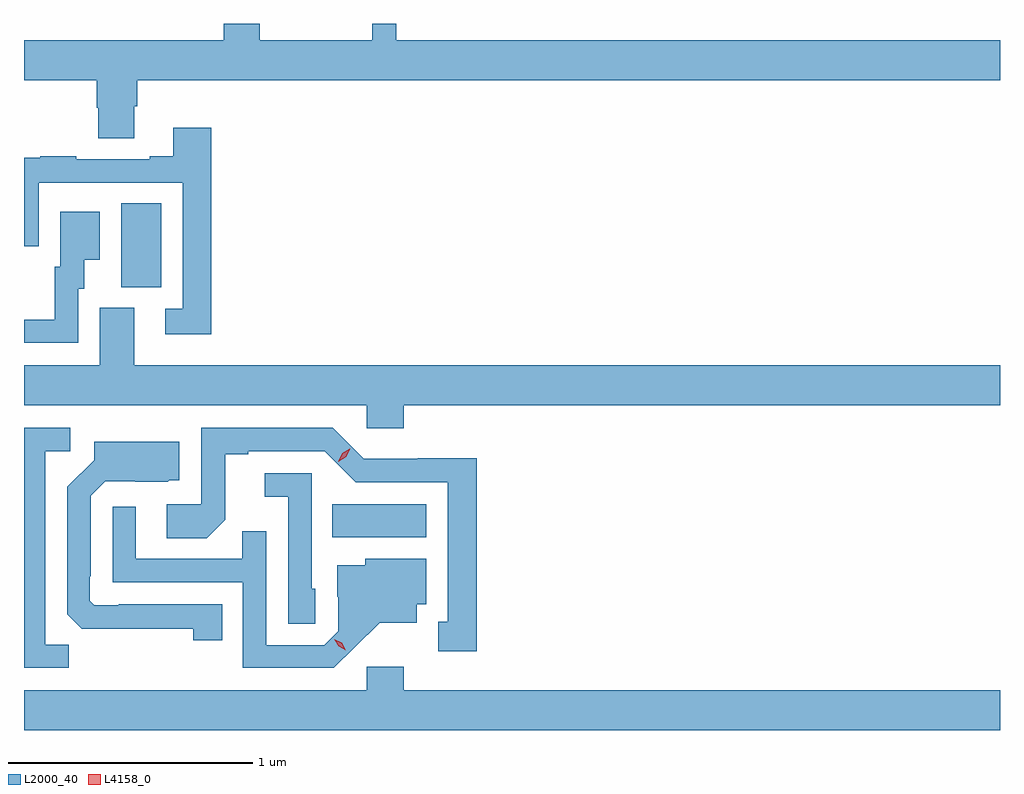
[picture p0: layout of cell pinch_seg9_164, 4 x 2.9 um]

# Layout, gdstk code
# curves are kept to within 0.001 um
import gdstk
lib = gdstk.Library(unit=1e-6, precision=1e-09)
def R(c, l, rs):  # rectangles x0, y0, x1, y1
    for r in rs: c.add(gdstk.rectangle(r[:2], r[2:], *l))
def P(c, l, *ps):  # polygons
    for p in ps: c.add(gdstk.Polygon(p, *l))
L2000_40 = (2000, 40)
L4158_0 = (4158, 0)

pinch_seg9_164 = lib.new_cell('pinch_seg9_164')
R(pinch_seg9_164, L2000_40, [(648.19,1175.9,648.574,1176.034), (647.324,1176.925,647.488,1177.268)])
P(pinch_seg9_164, L2000_40, [(647.377,1177.666),(647.39,1177.666),(647.39,1177.772),(650.926,1177.772),(650.926,1177.936),(648.452,1177.936),(648.452,1178.005),(648.353,1178.005),(648.353,1177.936),(647.892,1177.936),(647.892,1178.005),(647.744,1178.005),(647.744,1177.936),(646.926,1177.936),(646.926,1177.772),(647.225,1177.772),(647.225,1177.659),(647.23,1177.659),(647.23,1177.534),(647.377,1177.534)],
  [(647.693,1177.579),(647.537,1177.579),(647.537,1177.462),(647.441,1177.462),(647.441,1177.449),(647.141,1177.449),(647.141,1177.462),(646.993,1177.462),(646.993,1177.455),(646.926,1177.455),(646.926,1177.092),(646.986,1177.092),(646.986,1177.353),(647.577,1177.353),(647.577,1176.837),(647.505,1176.837),(647.505,1176.732),(647.693,1176.732)],
  [(647.148,1176.918),(647.173,1176.918),(647.173,1177.037),(647.236,1177.037),(647.236,1177.234),(647.075,1177.234),(647.075,1177.008),(647.051,1177.008),(647.051,1176.792),(646.926,1176.792),(646.926,1176.696),(647.148,1176.696)],
  [(648.482,1176.44),(650.926,1176.44),(650.926,1176.604),(647.377,1176.604),(647.377,1176.84),(647.237,1176.84),(647.237,1176.604),(646.926,1176.604),(646.926,1176.44),(648.33,1176.44),(648.33,1176.347),(648.482,1176.347)],
  [(647.109,1175.459),(647.013,1175.459),(647.013,1176.252),(647.116,1176.252),(647.116,1176.348),(646.926,1176.348),(646.926,1175.364),(647.109,1175.364)],
  [(648.781,1176.224),(648.54,1176.224),(648.54,1176.222),(648.318,1176.222),(648.192,1176.348),(647.652,1176.348),(647.652,1176.036),(647.511,1176.036),(647.511,1175.896),(647.675,1175.896),(647.751,1175.972),(647.751,1176.24),(647.845,1176.24),(647.845,1176.252),(648.159,1176.252),(648.285,1176.126),(648.662,1176.126),(648.662,1175.553),(648.623,1175.553),(648.623,1175.433),(648.781,1175.433)],
  [(647.738,1175.625),(647.314,1175.625),(647.314,1175.622),(647.214,1175.622),(647.196,1175.64),(647.196,1175.74),(647.199,1175.74),(647.199,1176.069),(647.259,1176.129),(647.516,1176.128),(647.522,1176.134),(647.563,1176.134),(647.563,1176.292),(647.213,1176.292),(647.213,1176.216),(647.103,1176.106),(647.103,1175.584),(647.162,1175.525),(647.62,1175.524),(647.62,1175.478),(647.738,1175.478)],
  [(648.12,1175.688),(648.105,1175.688),(648.105,1176.162),(647.913,1176.162),(647.913,1176.065),(648.009,1176.065),(648.009,1175.545),(648.12,1175.545)],
  [(648.28,1175.447),(648.383,1175.549),(648.535,1175.549),(648.535,1175.625),(648.574,1175.625),(648.574,1175.812),(648.324,1175.812),(648.324,1175.785),(648.209,1175.785),(648.209,1175.656),(648.213,1175.656),(648.213,1175.514),(648.156,1175.457),(647.919,1175.457),(647.919,1175.924),(647.821,1175.924),(647.821,1175.811),(647.385,1175.811),(647.385,1176.025),(647.289,1176.025),(647.289,1175.715),(647.823,1175.715),(647.823,1175.364),(648.196,1175.364)],
  [(650.926,1175.272),(648.482,1175.272),(648.482,1175.368),(648.33,1175.368),(648.33,1175.272),(646.926,1175.272),(646.926,1175.108),(650.926,1175.108)])
P(pinch_seg9_164, L4158_0, [(648.214,1176.21),(648.214,1176.211),(648.231,1176.244),(648.262,1176.263),(648.263,1176.263),(648.263,1176.263),(648.246,1176.23),(648.214,1176.21)],
  [(648.245,1175.437),(648.215,1175.452),(648.198,1175.482),(648.198,1175.482),(648.198,1175.482),(648.228,1175.467),(648.245,1175.437),(648.245,1175.437)])

lib.write_gds('pinch_seg9_164.gds')
